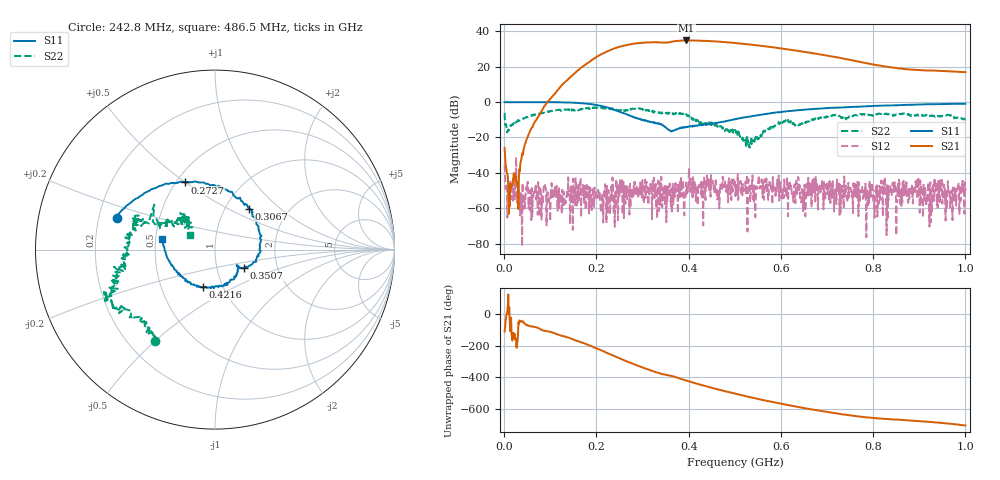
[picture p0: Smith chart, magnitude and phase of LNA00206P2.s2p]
! Created with skrf 1.9.0 (http://scikit-rf.org).
# Hz S RI R 50.0
!freq ReS11 ImS11 ReS21 ImS21 ReS12 ImS12 ReS22 ImS22
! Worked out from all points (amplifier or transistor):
!   1001 points, 1 MHz to 1 GHz, reference 50 ohm
!   highest |S21| = 34.9 dB at 394.6 MHz (marker M1)
!   |S21| within 3 dB of that: 258.6 MHz to 556 MHz (297.4 MHz wide, 73 % of centre)
!   unconditionally stable (mu >= 1): start of sweep to 87.91 MHz; 243 MHz to 400.3 MHz; 401.2 MHz to end of sweep (the widest 3 of 24)
!   at 166.8 MHz: K = 7.94, MAG = 30.2 dB, |S12| = -65.1 dB
!   at 500.5 MHz: K = 1.67, MAG = 34.0 dB, |S12| = -44.0 dB
!   at 1 GHz: K = 4.38, MAG = 24.3 dB, |S12| = -50.3 dB
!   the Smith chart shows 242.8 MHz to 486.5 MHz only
!   S11 on the Smith chart (normalised r, x): 242.8 MHz: 0.28, +0.15; 272.7 MHz: 0.55, +0.50; 306.7 MHz: 1.28, +0.64; 350.6 MHz: 1.34, -0.29; 421.6 MHz: 0.80, -0.35; 486.5 MHz: 0.54, +0.07
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1000000  0.9882 -0.00136  -0.0158 -0.0481  -0.0152 0.00773  0.3572 0.3401
1.07893e8  0.5185 -0.8454  -0.7581 -1.427  -0.000541 0.00321  0.4336 -0.3844
1.67833e8  -0.2554 -0.8914  -9.595 -0.352  0.00146 -0.00321  0.0232 -0.6438
2.09791e8  -0.6932 -0.3622  -14.92 16.43  -0.000326 0.000665  -0.2003 -0.6618
2.42758e8  -0.5478 0.1768  0.3196 34.11  -0.00256 -0.00605  -0.334 -0.5116
2.72728e8  -0.1683 0.3742  25.96 34.41  -0.00409 -0.00267  -0.5237 -0.318
3.06694e8  0.1875 0.2279  46.87 11.86  0.00108 0.00161  -0.5472 -0.1934
3.34666e8  0.2499 -0.0187  47.62 -11.24  -0.00164 0.00338  -0.4958 -0.0568
3.5065e8  0.1598 -0.1039  43.47 -20.33  0.00241 0.00383  -0.4903 0.0348
3.71629e8  0.1314 -0.1034  40.74 -33.85  -0.00165 0.00485  -0.4464 0.1384
3.94606e8  0.0762 -0.1851  26.55 -48.51  -0.00173 0.00499  -0.4255 0.1683
4.21579e8  -0.0692 -0.2102  4.994 -54.09  0.00177 0.00328  -0.2415 0.1525
4.5055e8  -0.2056 -0.1274  -16.37 -50.32  0.00545 0.000662  -0.1714 0.1885
4.86514e8  -0.2944 0.0581  -34.32 -34.59  0.0056 0.000212  -0.1409 0.0794
5.005e8  -0.2904 0.14  -38.66 -26.94  -0.000851 -0.00624  -0.1526 0.0581
5.39461e8  -0.2083 0.3458  -41.06 -5.892  0.000907 -0.00152  -0.0792 -0.0308
5.83417e8  -0.00642 0.4946  -33.21 11.82  0.00203 -0.00347  -0.1873 -0.0828
6.25375e8  0.1984 0.5349  -21.34 20.31  -0.000556 -0.00229  -0.2182 -0.1348
6.67333e8  0.4002 0.4911  -9.825 22.09  0.000447 -0.00221  -0.3156 -0.0205
7.41259e8  0.6391 0.3189  2.873 16.17  -0.00059 -0.00289  -0.3226 0.0405
8.34166e8  0.7985 0.0281  5.997 7.764  -0.00224 -0.00326  -0.3758 0.2369
1e9  0.7217 -0.5321  6.882 1.466  -0.00275 -0.00132  -0.0638 0.3099
